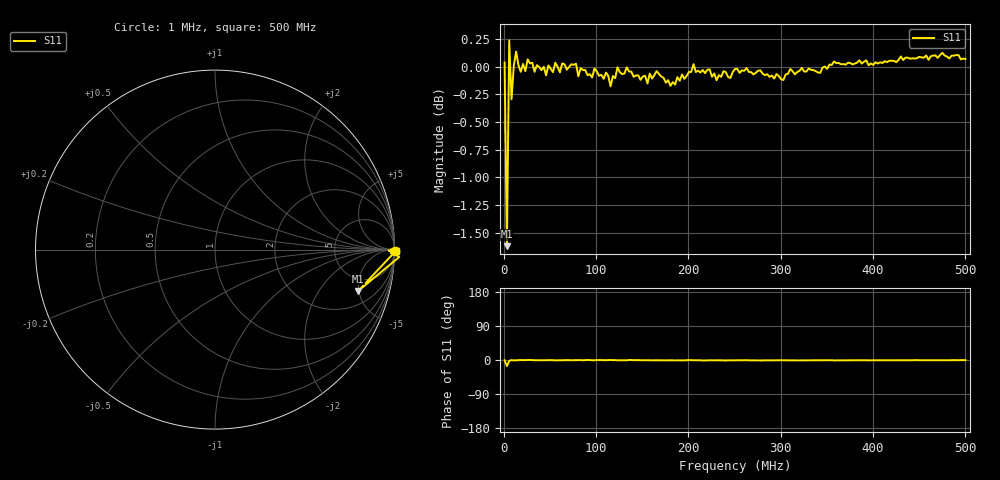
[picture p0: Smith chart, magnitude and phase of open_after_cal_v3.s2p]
! PocketVna 1.54  pocketvna.com
! Live measurements ((Reflection-S11) Linear 1000000-500000000/201 calibrated)
# MHz S DB R 50
! MHz  dBS11  <S11  dBS21  <S21  dBS12  <S12  dBS22  <S22
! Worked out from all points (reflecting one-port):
!   201 points, 1 MHz to 500 MHz, reference 50 ohm
!   lowest |S11| = -1.6 dB at 3.495 MHz (marker M1), VSWR 10.75, Z = 165 - j244 ohm
!   phase of S11 starts at -1 deg and turns +0 deg over the sweep
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1  0.04 -0.6  -200.00 0.0  -200.00 0.0  -200.00 0.0
3.495  -1.62 -16.2  -200.00 0.0  -200.00 0.0  -200.00 0.0
5.99  0.24 -2.3  -200.00 0.0  -200.00 0.0  -200.00 0.0
8.485  -0.29 -0.2  -200.00 0.0  -200.00 0.0  -200.00 0.0
13.475  0.14 -0.9  -200.00 0.0  -200.00 0.0  -200.00 0.0
18.465  -0.05 -0.1  -200.00 0.0  -200.00 0.0  -200.00 0.0
28.445  0.03 0.3  -200.00 0.0  -200.00 0.0  -200.00 0.0
33.435  -0.05 -0.7  -200.00 0.0  -200.00 0.0  -200.00 0.0
85.83  -0.03 -0.8  -200.00 0.0  -200.00 0.0  -200.00 0.0
90.82  -0.08 0.1  -200.00 0.0  -200.00 0.0  -200.00 0.0
95.81  -0.10 -0.8  -200.00 0.0  -200.00 0.0  -200.00 0.0
115.77  -0.18 0.1  -200.00 0.0  -200.00 0.0  -200.00 0.0
123.255  -0.01 -0.7  -200.00 0.0  -200.00 0.0  -200.00 0.0
133.235  -0.01 -0.9  -200.00 0.0  -200.00 0.0  -200.00 0.0
135.73  -0.04 0.1  -200.00 0.0  -200.00 0.0  -200.00 0.0
168.165  -0.07 -0.8  -200.00 0.0  -200.00 0.0  -200.00 0.0
180.64  -0.17 -0.8  -200.00 0.0  -200.00 0.0  -200.00 0.0
205.59  0.02 -0.8  -200.00 0.0  -200.00 0.0  -200.00 0.0
250.5  -0.02 -0.9  -200.00 0.0  -200.00 0.0  -200.00 0.0
335.33  -0.03 -1.1  -200.00 0.0  -200.00 0.0  -200.00 0.0
417.665  0.05 -0.7  -200.00 0.0  -200.00 0.0  -200.00 0.0
500  0.07 -0.4  -200.00 0.0  -200.00 0.0  -200.00 0.0
